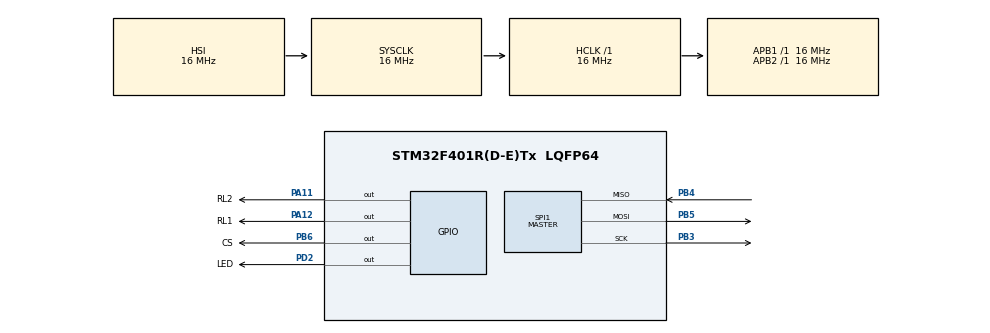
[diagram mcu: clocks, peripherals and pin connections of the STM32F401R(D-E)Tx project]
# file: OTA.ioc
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Mcu.Family=STM32F4
Mcu.Name=STM32F401R(D-E)Tx
Mcu.Package=LQFP64
NVIC.PriorityGroup=NVIC_PRIORITYGROUP_4
PA11.GPIO_Label=RL2
PA11.Signal=GPIO_Output
PA12.GPIO_Label=RL1
PA12.Signal=GPIO_Output
PB3.Mode=Full_Duplex_Master
PB3.Signal=SPI1_SCK
PB4.Mode=Full_Duplex_Master
PB4.Signal=SPI1_MISO
PB5.Mode=Full_Duplex_Master
PB5.Signal=SPI1_MOSI
PB6.GPIO_Label=CS
PB6.Signal=GPIO_Output
PD2.GPIO_Label=LED
PD2.Signal=GPIO_Output
ProjectManager.HeapSize=0x200
ProjectManager.StackSize=0x400
ProjectManager.TargetToolchain=STM32CubeIDE
RCC.AHBFreq_Value=16000000
RCC.APB1Freq_Value=16000000
RCC.APB2Freq_Value=16000000
RCC.CortexFreq_Value=16000000
RCC.HSE_VALUE=25000000
RCC.HSI_VALUE=16000000
RCC.LSE_VALUE=32768
RCC.SYSCLKFreq_VALUE=16000000
RCC.VCOOutputFreq_Value=192000000
SPI1.Direction=SPI_DIRECTION_2LINES
SPI1.Mode=SPI_MODE_MASTER
SPI1.VirtualType=VM_MASTER
board=custom

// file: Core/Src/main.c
/* USER CODE BEGIN Header */
/**
  ******************************************************************************
  * @file           : main.c
  * @brief          : OTA application - blinks the LED every 500 ms and every
  *                   OTA_POLL_INTERVAL_MS checks the server's ETag; on a
  *                   mismatch it hands off to the bootloader (which does the
  *                   actual download/flash/verify) via a reset.
  ******************************************************************************
  */
/* USER CODE END Header */
#include "main.h"

/* USER CODE BEGIN Includes */
#include "w5500.h"
#include "http_client.h"
#include "ota_shared.h"
#include "network_config.h"
#include <string.h>
/* USER CODE END Includes */

/* USER CODE BEGIN PD */
#define LED_BLINK_INTERVAL_MS   2000u
/* USER CODE END PD */

SPI_HandleTypeDef hspi1;

void SystemClock_Config(void);
static void MX_GPIO_Init(void);
static void MX_SPI1_Init(void);
/* USER CODE BEGIN PFP */
static void CheckForUpdate(void);
/* USER CODE END PFP */

/* USER CODE BEGIN 0 */

/* Queries the server's current ETag over the W5500 and, if it differs
 * from what's installed, hands the update off to the bootloader: write
 * "update pending" + the new ETag to the shared control block, then
 * reset. The bootloader (not this app) does the actual download/flash/
 * verify on the next boot. */
static void CheckForUpdate(void)
{
  ota_ctrl_t ctrl;
  OTA_Ctrl_Load(&ctrl);

  const uint8_t server_ip[4] = SERVER_IP;
  W5500_Init();
  if (!W5500_LinkUp()) return; /* cable unplugged / no link this cycle, just retry next poll */

  http_response_t resp;
  if (http_head(server_ip, SERVER_PORT, SERVER_HOST, FIRMWARE_PATH, &resp) != 0) return;
  if (resp.status_code != 200 || resp.etag[0] == 0) return;

  if (strcmp(resp.etag, ctrl.installed_etag) == 0) return; /* already running this version */

  ctrl.update_pending = 1;
  strncpy(ctrl.pending_etag, resp.etag, sizeof(ctrl.pending_etag) - 1);
  ctrl.pending_etag[sizeof(ctrl.pending_etag) - 1] = 0;
  OTA_Ctrl_Save(&ctrl);

  NVIC_SystemReset();
}
/* USER CODE END 0 */

int main(void)
{

  /* USER CODE BEGIN 1 */
  /* This image is linked to run from the OTA "active" slot, not the flash
   * base address - interrupts (SysTick etc.) must resolve through the
   * relocated vector table, so this has to happen before HAL_Init(). */
  SCB->VTOR = OTA_APP_ACTIVE_ADDR;
  /* USER CODE END 1 */

  /* MCU Configuration--------------------------------------------------------*/

  /* Reset of all peripherals, Initializes the Flash interface and the Systick. */
  HAL_Init();

  /* Configure the system clock */
  SystemClock_Config();

  /* Initialize all configured peripherals */
  MX_GPIO_Init();
  MX_SPI1_Init();
  /* USER CODE BEGIN 2 */

  uint32_t last_blink = HAL_GetTick();
  uint32_t last_poll = HAL_GetTick();
  GPIO_PinState led_state = GPIO_PIN_RESET;

  /* USER CODE END 2 */

  /* Infinite loop */
  /* USER CODE BEGIN WHILE */
  while (1)
  {
    uint32_t now = HAL_GetTick();

    if ((now - last_blink) >= LED_BLINK_INTERVAL_MS) {
      last_blink = now;
      led_state = (led_state == GPIO_PIN_RESET) ? GPIO_PIN_SET : GPIO_PIN_RESET;
      HAL_GPIO_WritePin(LED_GPIO_Port, LED_Pin, led_state);
      HAL_GPIO_TogglePin(GPIOA, RL1_Pin);
      HAL_GPIO_TogglePin(GPIOA, RL2_Pin);
    }

    if ((now - last_poll) >= OTA_POLL_INTERVAL_MS) {
      last_poll = now;
      CheckForUpdate();
    }

    /* USER CODE END WHILE */

  }
}

void SystemClock_Config(void)
{
  RCC_OscInitTypeDef RCC_OscInitStruct = {0};
  RCC_ClkInitTypeDef RCC_ClkInitStruct = {0};

  /** Configure the main internal regulator output voltage
  */
  __HAL_RCC_PWR_CLK_ENABLE();
  __HAL_PWR_VOLTAGESCALING_CONFIG(PWR_REGULATOR_VOLTAGE_SCALE2);

  /** Initializes the RCC Oscillators according to the specified parameters
  * in the RCC_OscInitTypeDef structure.
  */
  RCC_OscInitStruct.OscillatorType = RCC_OSCILLATORTYPE_HSI;
  RCC_OscInitStruct.HSIState = RCC_HSI_ON;
  RCC_OscInitStruct.HSICalibrationValue = RCC_HSICALIBRATION_DEFAULT;
  RCC_OscInitStruct.PLL.PLLState = RCC_PLL_NONE;
  if (HAL_RCC_OscConfig(&RCC_OscInitStruct) != HAL_OK)
  {
    Error_Handler();
  }

  /** Initializes the CPU, AHB and APB buses clocks
  */
  RCC_ClkInitStruct.ClockType = RCC_CLOCKTYPE_HCLK|RCC_CLOCKTYPE_SYSCLK
                              |RCC_CLOCKTYPE_PCLK1|RCC_CLOCKTYPE_PCLK2;
  RCC_ClkInitStruct.SYSCLKSource = RCC_SYSCLKSOURCE_HSI;
  RCC_ClkInitStruct.AHBCLKDivider = RCC_SYSCLK_DIV1;
  RCC_ClkInitStruct.APB1CLKDivider = RCC_HCLK_DIV1;
  RCC_ClkInitStruct.APB2CLKDivider = RCC_HCLK_DIV1;

  if (HAL_RCC_ClockConfig(&RCC_ClkInitStruct, FLASH_LATENCY_0) != HAL_OK)
  {
    Error_Handler();
  }
}

static void MX_SPI1_Init(void)
{

  /* SPI1 parameter configuration*/
  hspi1.Instance = SPI1;
  hspi1.Init.Mode = SPI_MODE_MASTER;
  hspi1.Init.Direction = SPI_DIRECTION_2LINES;
  hspi1.Init.DataSize = SPI_DATASIZE_8BIT;
  hspi1.Init.CLKPolarity = SPI_POLARITY_LOW;
  hspi1.Init.CLKPhase = SPI_PHASE_1EDGE;
  hspi1.Init.NSS = SPI_NSS_SOFT;
  hspi1.Init.BaudRatePrescaler = SPI_BAUDRATEPRESCALER_2;
  hspi1.Init.FirstBit = SPI_FIRSTBIT_MSB;
  hspi1.Init.TIMode = SPI_TIMODE_DISABLE;
  hspi1.Init.CRCCalculation = SPI_CRCCALCULATION_DISABLE;
  hspi1.Init.CRCPolynomial = 10;
  if (HAL_SPI_Init(&hspi1) != HAL_OK)
  {
    Error_Handler();
  }

}

static void MX_GPIO_Init(void)
{
  GPIO_InitTypeDef GPIO_InitStruct = {0};

  /* GPIO Ports Clock Enable */
  __HAL_RCC_GPIOA_CLK_ENABLE();
  __HAL_RCC_GPIOD_CLK_ENABLE();
  __HAL_RCC_GPIOB_CLK_ENABLE();

  /*Configure GPIO pin Output Level */
  HAL_GPIO_WritePin(GPIOA, RL2_Pin|RL1_Pin, GPIO_PIN_RESET);

  /*Configure GPIO pin Output Level */
  HAL_GPIO_WritePin(LED_GPIO_Port, LED_Pin, GPIO_PIN_RESET);

  /*Configure GPIO pin Output Level */
  HAL_GPIO_WritePin(CS_GPIO_Port, CS_Pin, GPIO_PIN_RESET);

  /*Configure GPIO pins : RL2_Pin RL1_Pin */
  GPIO_InitStruct.Pin = RL2_Pin|RL1_Pin;
  GPIO_InitStruct.Mode = GPIO_MODE_OUTPUT_PP;
  GPIO_InitStruct.Pull = GPIO_NOPULL;
  GPIO_InitStruct.Speed = GPIO_SPEED_FREQ_LOW;
  HAL_GPIO_Init(GPIOA, &GPIO_InitStruct);

  /*Configure GPIO pin : LED_Pin */
  GPIO_InitStruct.Pin = LED_Pin;
  GPIO_InitStruct.Mode = GPIO_MODE_OUTPUT_PP;
  GPIO_InitStruct.Pull = GPIO_NOPULL;
  GPIO_InitStruct.Speed = GPIO_SPEED_FREQ_LOW;
  HAL_GPIO_Init(LED_GPIO_Port, &GPIO_InitStruct);

  /*Configure GPIO pin : CS_Pin */
  GPIO_InitStruct.Pin = CS_Pin;
  GPIO_InitStruct.Mode = GPIO_MODE_OUTPUT_PP;
  GPIO_InitStruct.Pull = GPIO_NOPULL;
  GPIO_InitStruct.Speed = GPIO_SPEED_FREQ_LOW;
  HAL_GPIO_Init(CS_GPIO_Port, &GPIO_InitStruct);

}

void Error_Handler(void)
{
  __disable_irq();
  while (1)
  {
  }
}
